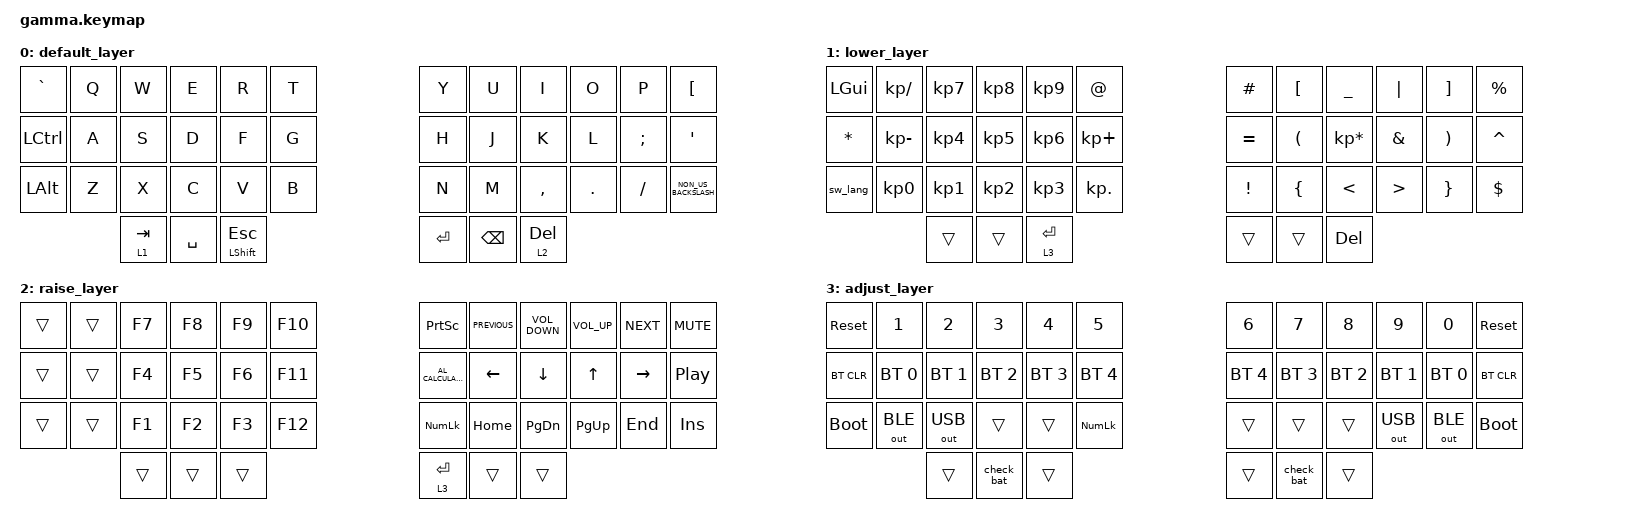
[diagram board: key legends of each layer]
/*
 * Copyright (c) 2020 The ZMK Contributors
 *
 * SPDX-License-Identifier: MIT
 */

#include <behaviors.dtsi>
#include <behaviors/check_battery.dtsi>
#include <dt-bindings/zmk/keys.h>
#include <dt-bindings/zmk/bt.h>
#include <dt-bindings/zmk/outputs.h>

    &lt {
        tapping-term-ms = <130>;
        flavor = "hold-preferred";
        };


    &caps_word {
    continue-list = <UNDERSCORE MINUS BACKSPACE>;
        };

/ {
    behaviors {
        sw_lang: sw_lang {
            compatible = "zmk,behavior-macro";
            label = "SW_LANG";
            #binding-cells = <0>;

            bindings = <
                &macro_press   &kp LALT
                &macro_tap     &kp LSHIFT
                &macro_release &kp LALT
            >;
        };

        /*
         * Mod-tap whose tap goes out through long_tap. Same timings as
         * the stock &mt override this replaces; hold-while-undecided
         * is kept so holding shift for sprint is not delayed by
         * tapping-term while another key is already down.
         */
        mt_long: mod_tap_long_tap {
            compatible = "zmk,behavior-hold-tap";
            label = "MT_LONG";
            #binding-cells = <2>;
            tapping-term-ms = <130>;
            flavor = "hold-preferred";
            hold-while-undecided;
            bindings = <&kp>, <&long_tap>;
        };
    };

    macros {
        /*
         * Stretches a tap to tap-ms so that games which sample key
         * state once per frame cannot miss it. A bare tap emits a
         * ~4ms press, shorter than one frame at any refresh rate;
         * engines that poll state instead of draining an event queue
         * (UE5 Enhanced Input, Frostbite) then never see the key.
         */
        long_tap: long_tap {
            compatible = "zmk,behavior-macro-one-param";
            label = "LONG_TAP";
            #binding-cells = <1>;
            wait-ms = <0>;
            tap-ms = <40>;

            bindings
                = <&macro_param_1to1>
                , <&macro_tap &kp MACRO_PLACEHOLDER>
                ;
        };
    };

  keymap {
                compatible = "zmk,keymap";

                default_layer {
                        bindings = <
   &kp GRAVE    &kp Q   &kp W    &kp E    &kp R    &kp T    &kp Y    &kp U    &kp I       &kp O     &kp P      &kp LEFT_BRACKET
   &kp LCTRL    &kp A   &kp S     &kp D    &kp F    &kp G    &kp H    &kp J    &kp K       &kp L     &kp SEMI   &kp SQT
   &kp LALT     &kp Z   &kp X    &kp C    &kp V    &kp B    &kp N    &kp M    &kp COMMA   &kp DOT   &kp FSLH   &kp NON_US_BACKSLASH
               &lt 1 TAB  &kp SPACE &mt_long LSHIFT ESC &kp RET &kp BACKSPACE &lt 2 DEL
                        >;
                };
                lower_layer {
                        bindings = <
   &kp LGUI     &kp KP_SLASH   &kp KP_N7   &kp KP_N8   &kp KP_N9   &kp AT_SIGN         &kp HASH   &kp LEFT_BRACKET      &kp UNDERSCORE           &kp PIPE           &kp RIGHT_BRACKET    &kp PERCENT
   &kp STAR    &kp KP_MINUS        &kp KP_N4   &kp KP_N5   &kp KP_N6   &kp KP_PLUS          &kp EQUAL  &kp LEFT_PARENTHESIS  &kp KP_ASTERISK  &kp AMPERSAND        &kp RIGHT_PARENTHESIS   &kp CARET
   &sw_lang    &kp KP_N0        &kp KP_N1   &kp KP_N2   &kp KP_N3   &kp KP_DOT           &kp EXCL   &kp LEFT_BRACE        &kp LESS_THAN    &kp GREATER_THAN &kp RIGHT_BRACE    &kp DOLLAR
                           &trans       &trans     &lt 3 RET                  &trans  &trans   &kp DEL
                        >;
                };

                raise_layer {
                        bindings = <
   &trans  &trans   &kp F7    &kp F8    &kp F9    &kp F10          &kp PSCRN     &kp C_PREVIOUS   &kp  C_VOLUME_DOWN   &kp C_VOLUME_UP   &kp C_NEXT   &kp C_MUTE
   &trans     &trans   &kp F4    &kp F5    &kp F6    &kp F11          &kp C_AL_CALCULATOR    &kp LEFT         &kp  DOWN            &kp UP            &kp RIGHT    &kp C_PLAY_PAUSE
   &trans     &trans   &kp F1    &kp F2    &kp F3    &kp F12          &kp KP_NUMLOCK     &kp HOME         &kp  PAGE_DOWN       &kp PAGE_UP       &kp END      &kp INSERT
                    	              &trans    &trans    &trans           &lt 3 RET        &trans           &trans
                        >;
                };

                adjust_layer {
                        bindings = <
   &sys_reset        &kp N1        &kp N2     &kp N3    &kp N4    &kp N5    &kp N6                            &kp N7     &kp N8         &kp N9      &kp N0   &sys_reset
   &bt BT_CLR        &bt BT_SEL 0     &bt BT_SEL 1    &bt BT_SEL 2    &bt BT_SEL 3    &bt BT_SEL 4          &bt BT_SEL 4     &bt BT_SEL 3         &bt BT_SEL 2      &bt BT_SEL 1   &bt BT_SEL 0   &bt BT_CLR
   &bootloader   &out OUT_BLE     &out OUT_USB    &trans    &trans    &kp KP_NUMLOCK          &trans             &trans         &trans      &out OUT_USB   &out OUT_BLE   &bootloader
                    	              &trans    &check_bat     &trans                                          &trans     &check_bat              &trans
                        >;
                };
        };
};
